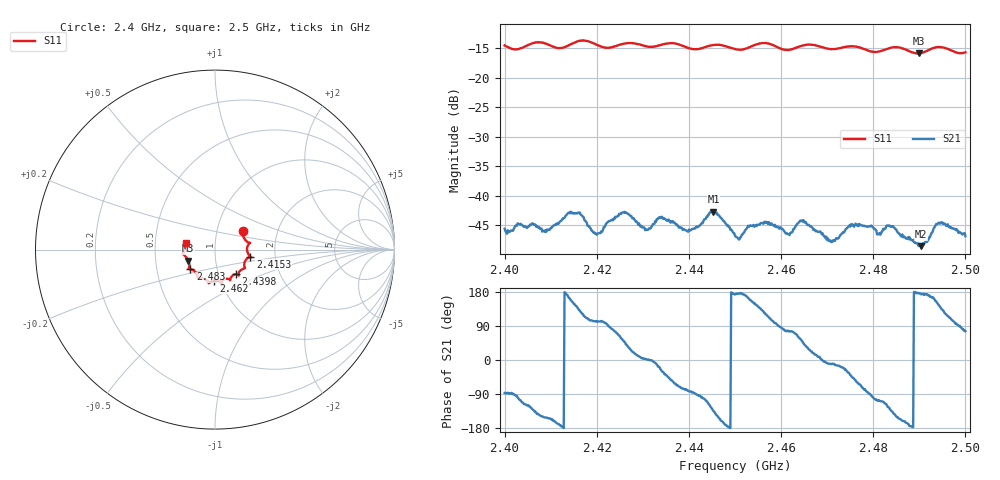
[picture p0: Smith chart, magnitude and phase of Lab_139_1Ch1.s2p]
# Hz S RI R 50
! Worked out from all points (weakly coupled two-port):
!   601 points, 2.4 GHz to 2.5 GHz, reference 50 ohm
!   highest |S21| = -42.69 dB at 2.4453 GHz (marker M1); lowest = -48.5 dB at 2.4903 GHz (marker M2)
!   lowest |S11| = -15.9 dB at 2.4898 GHz (marker M3), VSWR 1.38, Z = 36.8 - j4.62 ohm
!   |S11| at or under -10 dB: start of sweep to end of sweep
!   S12 and S22 are empty: the file has one direction only
!   S11 on the Smith chart (normalised r, x): 2.4 GHz: 1.33, +0.29; 2.4153 GHz: 1.48, -0.12; 2.4398 GHz: 1.21, -0.34; 2.462 GHz: 0.93, -0.33; 2.483 GHz: 0.74, -0.17; 2.5 GHz: 0.72, +0.06
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2.4e9  0.1549 0.1064  0.000298 -0.00525  0 0  0 0
2.409167e9  0.1905 0.0331  -0.00458 -0.00241  0 0  0 0
2.415333e9  0.1964 -0.0386  -0.00575 0.00413  0 0  0 0
2.416667e9  0.2023 -0.0427  -0.00391 0.00563  0 0  0 0
2.420167e9  0.1833 -0.0466  -0.001 0.00467  0 0  0 0
2.4255e9  0.1657 -0.099  0.00414 0.0059  0 0  0 0
2.431e9  0.1433 -0.115  0.00514 0.000113  0 0  0 0
2.433333e9  0.1312 -0.1335  0.00617 -0.00198  0 0  0 0
2.439833e9  0.1155 -0.1364  0.000827 -0.00489  0 0  0 0
2.445333e9  0.0842 -0.1698  -0.00518 -0.00519  0 0  0 0
2.45e9  0.0648 -0.1625  -0.00455 0.00056  0 0  0 0
2.456833e9  0.0391 -0.1923  -0.00292 0.00524  0 0  0 0
2.462e9  -0.00529 -0.1729  0.00125 0.00468  0 0  0 0
2.466667e9  -0.0342 -0.1876  0.00501 0.00207  0 0  0 0
2.471167e9  -0.06 -0.1642  0.00403 -0.000677  0 0  0 0
2.475e9  -0.0919 -0.1603  0.00424 -0.00346  0 0  0 0
2.483e9  -0.1377 -0.1094  -0.00284 -0.00482  0 0  0 0
2.483333e9  -0.1402 -0.1093  -0.00314 -0.00459  0 0  0 0
2.489833e9  -0.1485 -0.0611  -0.00374 0.000278  0 0  0 0
2.490333e9  -0.1523 -0.054  -0.00372 0.000409  0 0  0 0
2.494333e9  -0.1809 -0.0218  -0.00473 0.00354  0 0  0 0
2.5e9  -0.1596 0.0391  0.00109 0.00441  0 0  0 0
